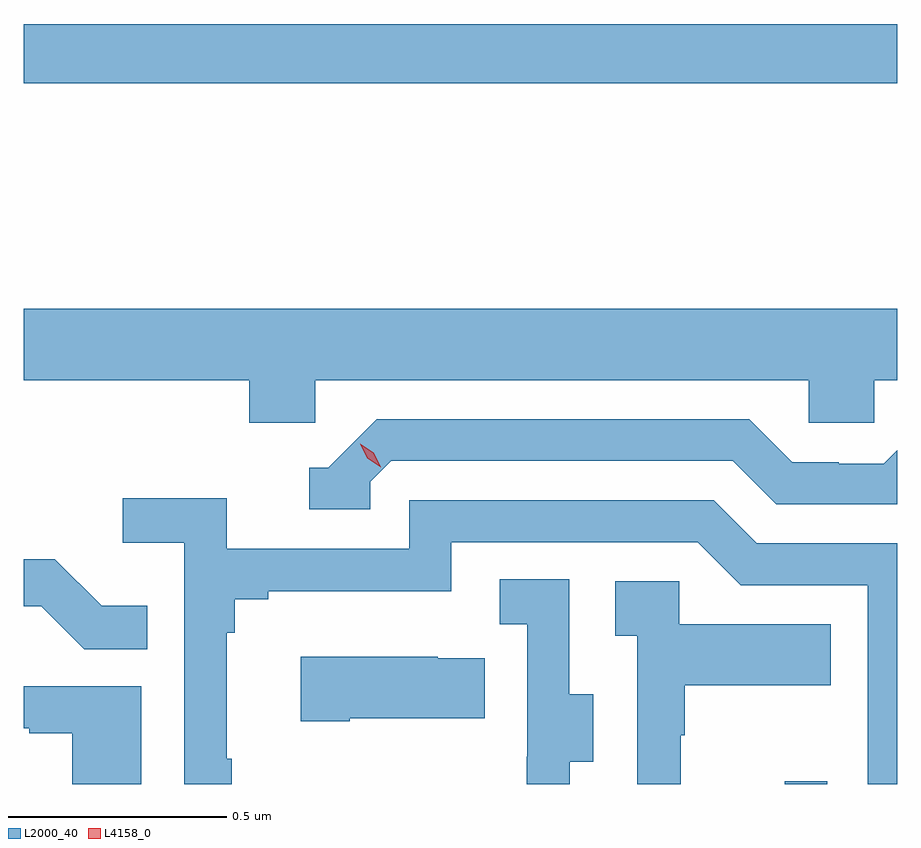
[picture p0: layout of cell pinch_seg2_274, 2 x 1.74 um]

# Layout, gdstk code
import gdstk
lib = gdstk.Library(unit=1e-6, precision=1e-09)
def R(c, l, rs):  # rectangles x0, y0, x1, y1
    for r in rs: c.add(gdstk.rectangle(r[:2], r[2:], *l))
def P(c, l, *ps):  # polygons
    for p in ps: c.add(gdstk.Polygon(p, *l))
L2000_40 = (2000, 40)
L4158_0 = (4158, 0)

pinch_seg2_274 = lib.new_cell('pinch_seg2_274')
R(pinch_seg2_274, L2000_40, [(915.56,660.031,915.657,660.037), (913.817,661.636,915.817,661.772)])
P(pinch_seg2_274, L2000_40, [(914.484,660.956),(915.615,660.956),(915.615,660.858),(915.765,660.858),(915.765,660.956),(915.817,660.956),(915.817,661.12),(913.817,661.12),(913.817,660.956),(914.333,660.956),(914.333,660.858),(914.484,660.858)],
  [(914.61,660.723),(914.658,660.771),(915.441,660.771),(915.54,660.672),(915.817,660.672),(915.817,660.796),(915.787,660.765),(915.684,660.765),(915.684,660.768),(915.577,660.768),(915.478,660.867),(914.625,660.867),(914.514,660.756),(914.471,660.756),(914.471,660.66),(914.61,660.66)],
  [(914.293,660.089),(914.281,660.089),(914.281,660.377),(914.3,660.377),(914.3,660.454),(914.377,660.454),(914.377,660.473),(914.796,660.473),(914.796,660.585),(915.36,660.585),(915.459,660.486),(915.75,660.486),(915.75,660.031),(915.817,660.031),(915.817,660.582),(915.496,660.582),(915.397,660.681),(914.7,660.681),(914.7,660.57),(914.282,660.57),(914.282,660.686),(914.043,660.686),(914.043,660.584),(914.184,660.584),(914.184,660.031),(914.293,660.031)],
  [(914.099,660.439),(913.995,660.439),(913.888,660.546),(913.817,660.546),(913.817,660.438),(913.857,660.438),(913.955,660.34),(914.099,660.34)],
  [(915.067,660.082),(915.121,660.082),(915.121,660.237),(915.066,660.237),(915.066,660.5),(914.907,660.5),(914.907,660.397),(914.97,660.397),(914.97,660.093),(914.969,660.093),(914.969,660.031),(915.067,660.031)],
  [(915.321,660.143),(915.331,660.143),(915.331,660.257),(915.665,660.257),(915.665,660.397),(915.318,660.397),(915.318,660.495),(915.171,660.495),(915.171,660.371),(915.222,660.371),(915.222,660.031),(915.321,660.031)],
  [(914.563,660.182),(914.873,660.182),(914.873,660.319),(914.765,660.319),(914.765,660.322),(914.451,660.322),(914.451,660.175),(914.563,660.175)],
  [(914.086,660.255),(913.817,660.255),(913.817,660.159),(913.829,660.159),(913.829,660.147),(913.928,660.147),(913.928,660.031),(914.086,660.031)])
P(pinch_seg2_274, L4158_0, [(914.634,660.757),(914.603,660.777),(914.587,660.809),(914.587,660.81),(914.587,660.81),(914.618,660.79),(914.634,660.758),(914.634,660.757)])

lib.write_gds('pinch_seg2_274.gds')
